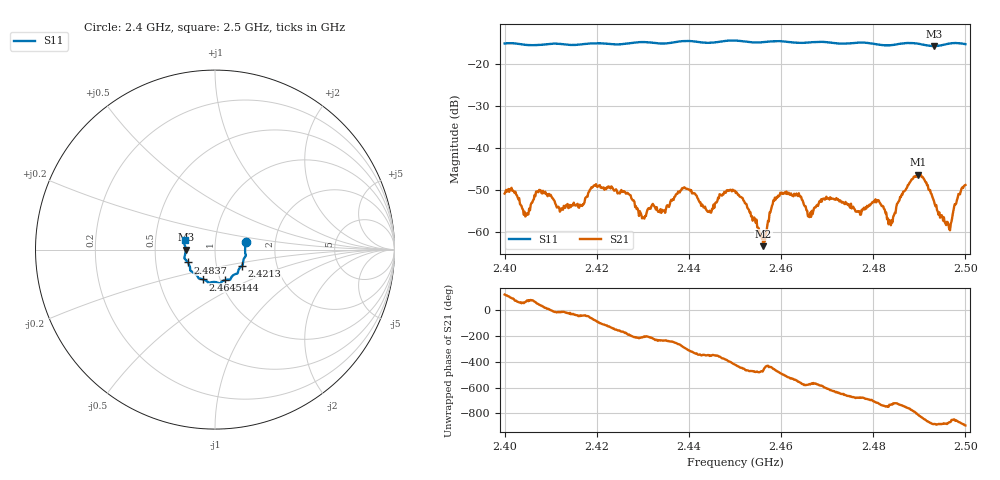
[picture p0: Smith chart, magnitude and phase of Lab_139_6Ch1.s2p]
# Hz S RI R 50
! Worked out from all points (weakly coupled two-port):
!   601 points, 2.4 GHz to 2.5 GHz, reference 50 ohm
!   highest |S21| = -46.38 dB at 2.4897 GHz (marker M1); lowest = -63.4 dB at 2.4562 GHz (marker M2)
!   lowest |S11| = -15.7 dB at 2.4932 GHz (marker M3), VSWR 1.39, Z = 35.9 - j0.0543 ohm
!   |S11| at or under -10 dB: start of sweep to end of sweep
!   S12 and S22 are empty: the file has one direction only
!   S11 on the Smith chart (normalised r, x): 2.4 GHz: 1.41, +0.12; 2.4213 GHz: 1.33, -0.25; 2.444 GHz: 1.06, -0.37; 2.4645 GHz: 0.83, -0.29; 2.4837 GHz: 0.73, -0.11; 2.5 GHz: 0.71, +0.07
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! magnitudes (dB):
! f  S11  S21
! 2.4 GHz  -15.1  -50.9
! 2.4047 GHz  -15.5  -56.0
! 2.4073 GHz  -15.5  -50.5
! 2.4167 GHz  -15.3  -53.7
! 2.4213 GHz  -15.1  -49.5
! 2.4268 GHz  -15.1  -50.9
! 2.4302 GHz  -14.8  -56.7
! 2.4333 GHz  -15.1  -55.3
! 2.439 GHz  -14.5  -49.4
! 2.444 GHz  -15.0  -55.1
! 2.45 GHz  -14.4  -50.2
! 2.4562 GHz  -14.8  -63.4
! 2.4588 GHz  -14.5  -52.3
! 2.4645 GHz  -15.0  -52.3
! 2.4667 GHz  -14.8  -55.0
! 2.4807 GHz  -15.3  -53.0
! 2.4833 GHz  -15.6  -58.2
! 2.4837 GHz  -15.5  -57.7
! 2.4897 GHz  -15.2  -46.4
! 2.4932 GHz  -15.7  -52.6
! 2.4963 GHz  -15.2  -58.4
! 2.5 GHz  -15.3  -48.8
